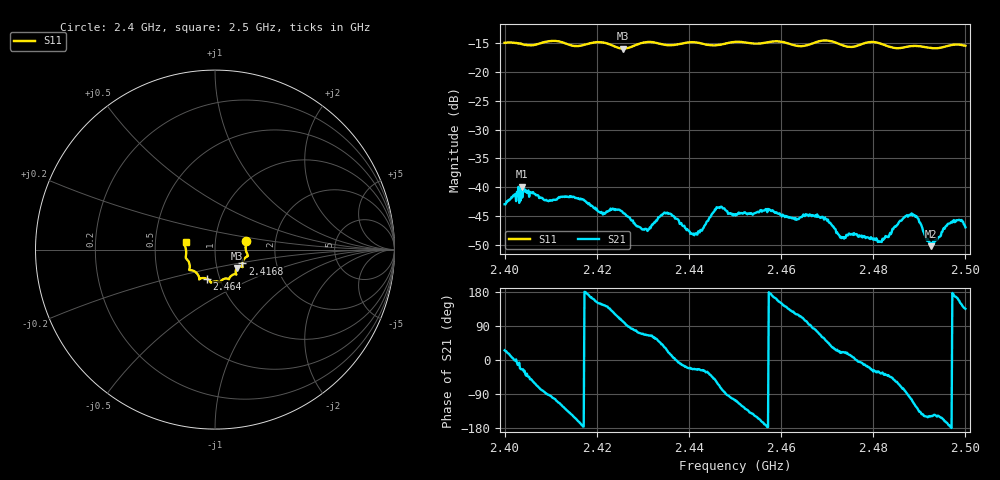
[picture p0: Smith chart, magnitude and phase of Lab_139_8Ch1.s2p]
# Hz S RI R 50
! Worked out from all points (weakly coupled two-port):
!   601 points, 2.4 GHz to 2.5 GHz, reference 50 ohm
!   highest |S21| = -39.90 dB at 2.4037 GHz (marker M1); lowest = -50.3 dB at 2.4925 GHz (marker M2)
!   lowest |S11| = -15.9 dB at 2.4257 GHz (marker M3), VSWR 1.38, Z = 62.5 - j13.1 ohm
!   |S11| at or under -10 dB: start of sweep to end of sweep
!   S12 and S22 are empty: the file has one direction only
!   S11 on the Smith chart (normalised r, x): 2.4 GHz: 1.41, +0.14; 2.4168 GHz: 1.34, -0.21; 2.464 GHz: 0.87, -0.29; 2.5 GHz: 0.72, +0.06
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2.4e9  0.1729 0.0489  0.00641 0.00306  0 0  0 0
2.403667e9  0.1725 0.0299  0.00917 -0.00427  0 0  0 0
2.416667e9  0.1528 -0.0748  -0.00773 -0.00125  0 0  0 0
2.416833e9  0.1525 -0.0768  -0.0078 -0.0011  0 0  0 0
2.421167e9  0.1537 -0.0962  -0.00495 0.00332  0 0  0 0
2.425667e9  0.1228 -0.1024  -0.00121 0.00589  0 0  0 0
2.4305e9  0.1184 -0.1376  0.00176 0.00398  0 0  0 0
2.433333e9  0.1126 -0.1372  0.00348 0.00421  0 0  0 0
2.435667e9  0.0966 -0.1415  0.00558 0.00191  0 0  0 0
2.441333e9  0.0764 -0.1646  0.00359 -0.00164  0 0  0 0
2.4465e9  0.0437 -0.1665  0.00271 -0.0061  0 0  0 0
2.45e9  0.0294 -0.181  -0.00154 -0.00563  0 0  0 0
2.457167e9  -0.0152 -0.1813  -0.00646 -0.00034  0 0  0 0
2.464e9  -0.0461 -0.1617  -0.00232 0.00488  0 0  0 0
2.466667e9  -0.0759 -0.1596  0.000283 0.00559  0 0  0 0
2.47e9  -0.088 -0.1662  0.0034 0.00381  0 0  0 0
2.473333e9  -0.0931 -0.1433  0.00341 0.0013  0 0  0 0
2.483333e9  -0.141 -0.0896  0.00281 -0.00239  0 0  0 0
2.4885e9  -0.1617 -0.0478  -0.00182 -0.0054  0 0  0 0
2.4925e9  -0.1607 -0.0199  -0.00261 -0.00161  0 0  0 0
2.497e9  -0.1698 0.0269  -0.00501 -4.84e-05  0 0  0 0
2.5e9  -0.1638 0.0424  -0.00318 0.00316  0 0  0 0
